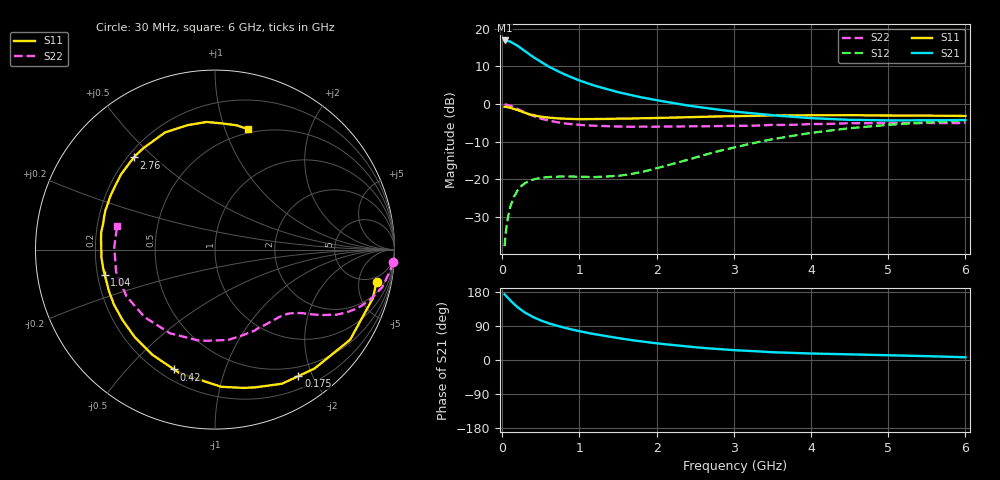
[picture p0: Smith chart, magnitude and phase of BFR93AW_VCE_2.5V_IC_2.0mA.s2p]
! Infineon Technologies  Discrete & RF Semiconductors
! BFR93AW
! VCE =  2.5 V,  IC =  2.0 mA
! Common Emitter S-Parameters:  Nov 2015
# GHz  S  MA  R  50
!  f  S11  S21  S12  S22
! GHz  MAG  ANG  MAG  ANG  MAG  ANG  MAG  ANG
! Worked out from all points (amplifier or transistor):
!   206 points, 30 MHz to 6 GHz, reference 50 ohm
!   highest |S21| = 16.9 dB at 30 MHz (marker M1)
!   |S21| within 3 dB of that: start of sweep to 305.9 MHz
!   unconditionally stable (mu >= 1): 1.221 GHz to 2.442 GHz; 5.892 GHz to end of sweep
!   at 200 MHz: K = 0.16, MSG = 19.2 dB, |S12| = -22.9 dB
!   at 1.56 GHz: K = 1.16, MAG = 8.5 dB, |S12| = -18.9 dB
!   at 6 GHz: K = 1.00, MAG = -0.2 dB, |S12| = -4.4 dB
!   S11 on the Smith chart (normalised r, x): 30 MHz: 3.79, -8.54; 175 MHz: 0.37, -1.80; 420 MHz: 0.26, -0.68; 1.04 GHz: 0.23, -0.11; 2.76 GHz: 0.22, +0.43; 6 GHz: 0.47, +1.20
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0.03  0.9175 -11.2  7.012 173.3  0.0129 83.8  0.9947 -4.0
0.05  0.9204 -17.1  6.994 168.6  0.0215 80.7  0.9845 -6.6
0.1  0.9048 -33.7  6.794 158.0  0.0421 72.0  0.9553 -12.7
0.15  0.8642 -50.0  6.38 147.6  0.058 63.6  0.9087 -17.9
0.175  0.8441 -56.6  6.14 143.4  0.0647 59.8  0.8844 -20.0
0.2  0.8356 -63.4  5.936 138.9  0.0717 56.7  0.8614 -22.2
0.26  0.787 -78.3  5.361 129.6  0.0834 49.8  0.8023 -26.1
0.3  0.7652 -87.4  5.015 124.2  0.0898 46.3  0.7674 -28.2
0.4  0.716 -106.0  4.231 113.0  0.0992 39.5  0.6936 -31.7
0.42  0.7055 -108.8  4.106 111.4  0.1003 38.5  0.6827 -32.2
0.5  0.6821 -120.8  3.641 104.1  0.1048 34.9  0.6396 -34.2
0.6  0.6619 -132.5  3.157 96.8  0.1072 32.2  0.6029 -36.0
0.7  0.6478 -142.6  2.8 90.8  0.1085 30.8  0.5758 -37.8
0.86  0.6362 -155.5  2.353 82.4  0.1087 30.4  0.5458 -40.8
1.04  0.6301 -167.1  1.992 74.4  0.1077 32.2  0.5257 -44.4
1.5  0.6415 171.3  1.441 57.9  0.1109 44.5  0.5046 -55.7
2.02  0.6549 152.4  1.116 43.5  0.1418 59.8  0.5013 -70.7
2.76  0.6838 131.3  0.853 29.4  0.2309 66.4  0.509 -93.8
3.1  0.6929 122.7  0.778 25.0  0.279 64.4  0.5137 -104.4
4.1  0.7091 100.9  0.643 16.7  0.4259 52.0  0.5428 -139.4
5.1  0.7031 85.1  0.608 12.0  0.537 36.5  0.5615 -170.0
6  0.6949 74.5  0.614 7.2  0.6053 24.0  0.5612 166.2
